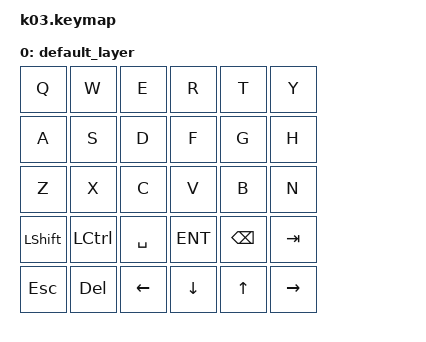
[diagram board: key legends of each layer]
/ {
    keymap {
        compatible = "zmk,keymap";

        default_layer {
            bindings = <
                &kp Q    &kp W    &kp E    &kp R    &kp T    &kp Y
                &kp A    &kp S    &kp D    &kp F    &kp G    &kp H
                &kp Z    &kp X    &kp C    &kp V    &kp B    &kp N
                &kp LSHFT &kp LCTL &kp SPC  &kp ENT  &kp BSPC &kp TAB
                &kp ESC   &kp DEL  &kp LEFT &kp DOWN &kp UP   &kp RIGHT
            >;
        };
    };
};

